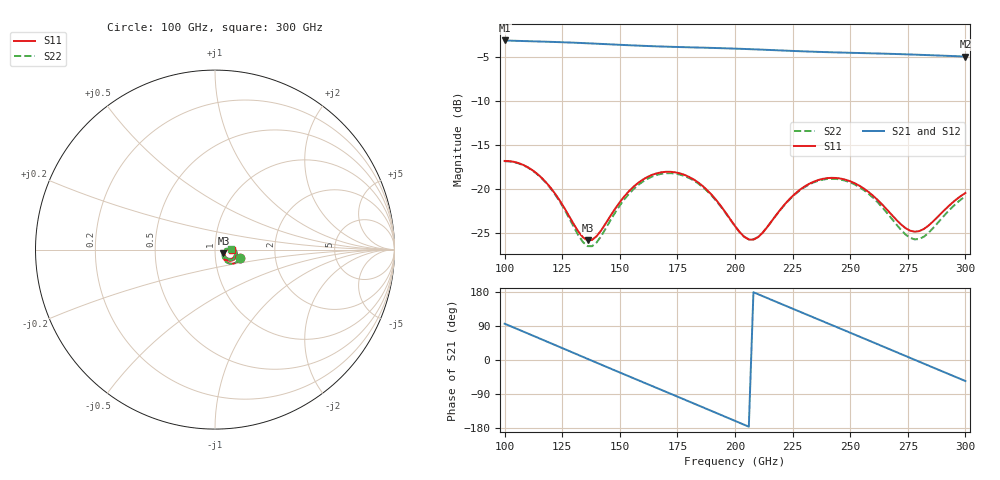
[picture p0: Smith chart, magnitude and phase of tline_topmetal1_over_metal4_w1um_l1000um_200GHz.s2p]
#  GHZ S DB R 50
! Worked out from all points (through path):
!   101 points, 100 GHz to 300 GHz, reference 50 ohm
!   highest |S21| = -3.07 dB at 100 GHz (marker M1); lowest = -4.9 dB at 300 GHz (marker M2)
!   group delay of S21, straight-line fit = 7.1 ps
!   lowest |S11| = -25.8 dB at 136 GHz (marker M3), VSWR 1.11, Z = 54.9 - j2.17 ohm
!   |S11| at or under -10 dB: start of sweep to end of sweep
!   |S22| runs from -26.5 to -16.8 dB; largest |S21 - S12| = 7e-14
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100  -16.78 -18.6  -3.07 95.8  -3.07 95.8  -16.81 -18.6
108  -17.22 -31.2  -3.13 75.3  -3.13 75.3  -17.25 -31.5
116  -18.67 -42.0  -3.19 54.7  -3.19 54.7  -18.72 -42.8
126  -22.16 -47.0  -3.28 28.9  -3.28 28.9  -22.31 -48.8
134  -25.46 -30.7  -3.36 8.2  -3.36 8.2  -26.01 -32.7
136  -25.81 -22.7  -3.39 3.0  -3.39 3.0  -26.47 -23.9
140  -25.32 -6.8  -3.44 -7.3  -3.44 -7.3  -26.03 -6.1
150  -21.46 6.8  -3.56 -32.9  -3.56 -32.9  -21.84 9.2
160  -18.90 -1.4  -3.68 -58.4  -3.68 -58.4  -19.12 0.9
168  -18.07 -12.3  -3.75 -78.8  -3.75 -78.8  -18.24 -10.2
182  -18.87 -32.2  -3.86 -114.5  -3.86 -114.5  -18.99 -30.1
192  -21.27 -41.0  -3.93 -140.1  -3.93 -140.1  -21.36 -38.9
200  -24.18 -36.6  -4.00 -160.6  -4.00 -160.6  -24.21 -34.5
208  -25.72 -13.8  -4.07 178.8  -4.07 178.8  -25.70 -12.2
216  -23.59 4.7  -4.16 158.4  -4.16 158.4  -23.61 5.8
234  -19.15 -4.2  -4.35 112.6  -4.35 112.6  -19.23 -3.2
242  -18.70 -14.6  -4.41 92.3  -4.41 92.3  -18.80 -13.8
250  -19.09 -25.0  -4.47 72.0  -4.47 72.0  -19.22 -24.4
268  -22.90 -34.6  -4.59 26.1  -4.59 26.1  -23.34 -35.0
280  -24.76 -12.9  -4.70 -4.6  -4.70 -4.6  -25.65 -10.2
290  -22.60 0.6  -4.80 -30.1  -4.80 -30.1  -23.22 6.3
300  -20.42 -2.9  -4.89 -55.4  -4.89 -55.4  -20.79 3.3
